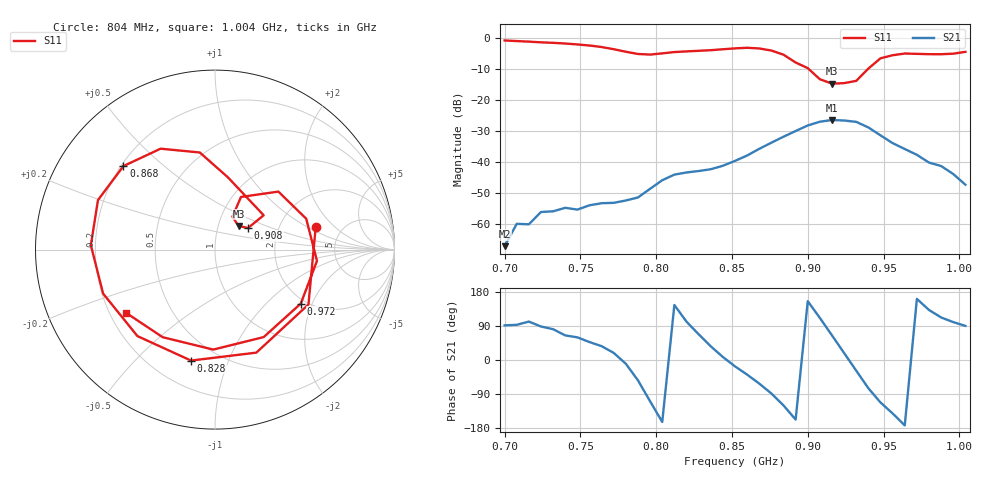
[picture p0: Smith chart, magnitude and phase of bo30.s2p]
# Hz S RI R 50
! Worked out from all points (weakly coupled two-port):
!   39 points, 700 MHz to 1.004 GHz, reference 50 ohm
!   highest |S21| = -26.35 dB at 916 MHz (marker M1); lowest = -67.1 dB at 700 MHz (marker M2)
!   lowest |S11| = -14.6 dB at 916 MHz (marker M3), VSWR 1.46, Z = 62.6 + j17.1 ohm
!   |S11| at or under -10 dB: 900.9 MHz to 939.4 MHz (38.47 MHz wide, 4.18 % of centre)
!   S12 and S22 are empty: the file has one direction only
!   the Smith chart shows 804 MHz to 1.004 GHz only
!   S11 on the Smith chart (normalised r, x): 804 MHz: 3.21, +1.22; 828 MHz: 0.36, -0.74; 868 MHz: 0.21, +0.37; 908 MHz: 1.40, +0.35; 972 MHz: 1.88, -1.66; 1.004 GHz: 0.27, -0.30
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7e8  0.7656 0.5271  -1.1e-05 0.000442  0 0  0 0
7.08e8  0.8631 0.2841  -5.01e-05 0.00101  0 0  0 0
7.24e8  0.8264 -0.26  4.36e-05 0.00158  0 0  0 0
7.4e8  0.441 -0.7022  0.000782 0.00167  0 0  0 0
7.56e8  -0.1964 -0.7445  0.00137 0.00149  0 0  0 0
7.72e8  -0.6466 -0.1803  0.0021 0.000708  0 0  0 0
7.8e8  -0.5644 0.2325  0.00238 -0.000421  0 0  0 0
7.88e8  -0.2098 0.5215  0.0016 -0.00218  0 0  0 0
8.04e8  0.5611 0.1268  -0.00492 -0.00146  0 0  0 0
8.2e8  0.2306 -0.574  -0.00133 0.00673  0 0  0 0
8.28e8  -0.1336 -0.6183  0.00272 0.0067  0 0  0 0
8.52e8  -0.6917 0.0245  0.0101 -0.00305  0 0  0 0
8.68e8  -0.5099 0.4655  0.00769 -0.0146  0 0  0 0
8.84e8  -0.0847 0.541  -0.0129 -0.0225  0 0  0 0
9e8  0.2712 0.1913  -0.0357 0.0165  0 0  0 0
9.08e8  0.1838 0.1202  -0.0162 0.0423  0 0  0 0
9.16e8  0.1319 0.1316  0.0205 0.0436  0 0  0 0
9.4e8  0.1447 0.2933  0.00971 -0.0353  0 0  0 0
9.56e8  0.5082 0.172  -0.0159 -0.0128  0 0  0 0
9.72e8  0.478 -0.3008  -0.0125 0.00426  0 0  0 0
9.88e8  -0.00959 -0.5571  -0.00329 0.00806  0 0  0 0
1.004e9  -0.4965 -0.3515  -1.68e-06 0.00435  0 0  0 0
